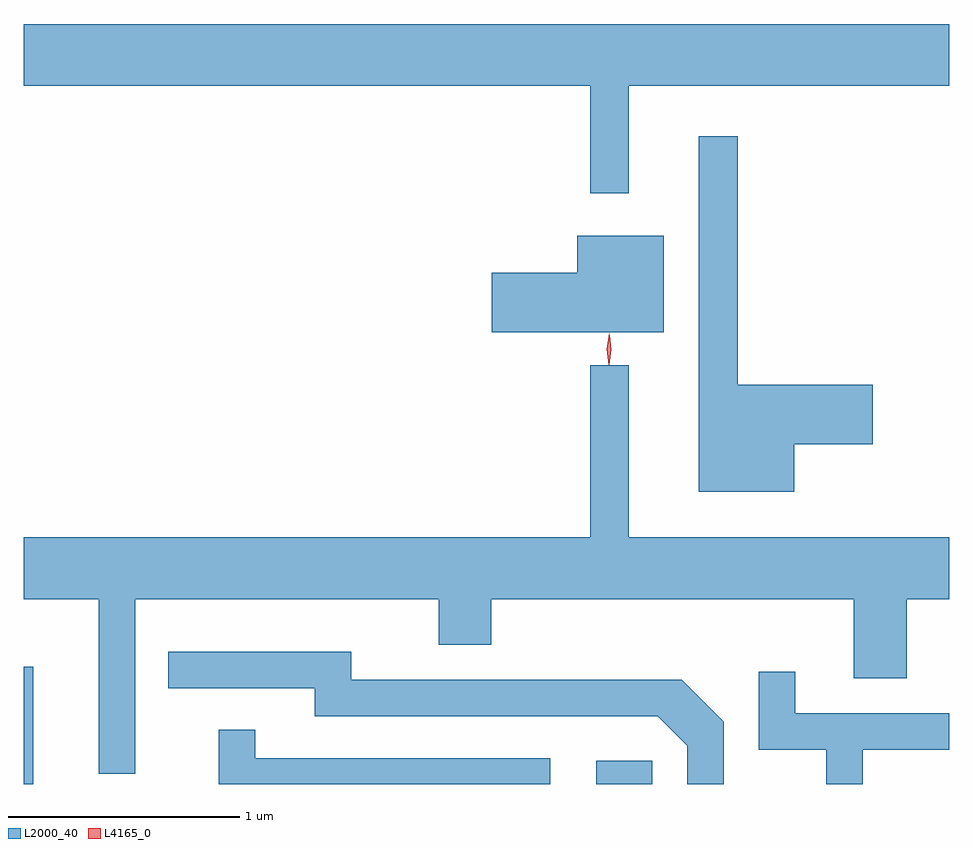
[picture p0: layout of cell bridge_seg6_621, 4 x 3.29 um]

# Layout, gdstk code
import gdstk
lib = gdstk.Library(unit=1e-6, precision=1e-09)
def R(c, l, rs):  # rectangles x0, y0, x1, y1
    for r in rs: c.add(gdstk.rectangle(r[:2], r[2:], *l))
def P(c, l, *ps):  # polygons
    for p in ps: c.add(gdstk.Polygon(p, *l))
L2000_40 = (2000, 40)
L4165_0 = (4165, 0)

bridge_seg6_621 = lib.new_cell('bridge_seg6_621')
R(bridge_seg6_621, L2000_40, [(315.393,1611.398,315.434,1611.904), (317.868,1611.398,318.109,1611.499)])
P(bridge_seg6_621, L2000_40, [(318.009,1614.416),(319.393,1614.416),(319.393,1614.684),(315.393,1614.684),(315.393,1614.416),(317.841,1614.416),(317.841,1613.953),(318.009,1613.953)],
  [(318.724,1612.866),(319.064,1612.866),(319.064,1613.124),(318.479,1613.124),(318.479,1614.198),(318.311,1614.198),(318.311,1612.661),(318.724,1612.661)],
  [(318.159,1613.769),(317.786,1613.769),(317.786,1613.609),(317.416,1613.609),(317.416,1613.351),(318.159,1613.351)],
  [(315.874,1612.196),(317.186,1612.196),(317.186,1612.001),(317.414,1612.001),(317.414,1612.196),(318.981,1612.196),(318.981,1611.856),(319.209,1611.856),(319.209,1612.196),(319.393,1612.196),(319.393,1612.464),(318.009,1612.464),(318.009,1613.208),(317.841,1613.208),(317.841,1612.464),(315.393,1612.464),(315.393,1612.196),(315.716,1612.196),(315.716,1611.443),(315.874,1611.443)],
  [(318.419,1611.667),(318.237,1611.849),(316.809,1611.849),(316.809,1611.969),(316.018,1611.969),(316.018,1611.811),(316.651,1611.811),(316.651,1611.691),(318.134,1611.691),(318.261,1611.564),(318.261,1611.398),(318.419,1611.398)],
  [(319.019,1611.546),(319.393,1611.546),(319.393,1611.704),(318.729,1611.704),(318.729,1611.883),(318.571,1611.883),(318.571,1611.546),(318.861,1611.546),(318.861,1611.398),(319.019,1611.398)],
  [(317.668,1611.509),(316.394,1611.509),(316.394,1611.633),(316.236,1611.633),(316.236,1611.398),(317.668,1611.398)])
P(bridge_seg6_621, L4165_0, [(317.922,1613.21),(317.922,1613.21),(317.913,1613.278),(317.923,1613.346),(317.924,1613.346),(317.924,1613.346),(317.933,1613.278),(317.923,1613.21)],
  [(317.922,1613.213),(317.922,1613.214),(317.913,1613.277),(317.924,1613.339),(317.924,1613.34),(317.925,1613.339),(317.933,1613.276),(317.923,1613.214)])

lib.write_gds('bridge_seg6_621.gds')
